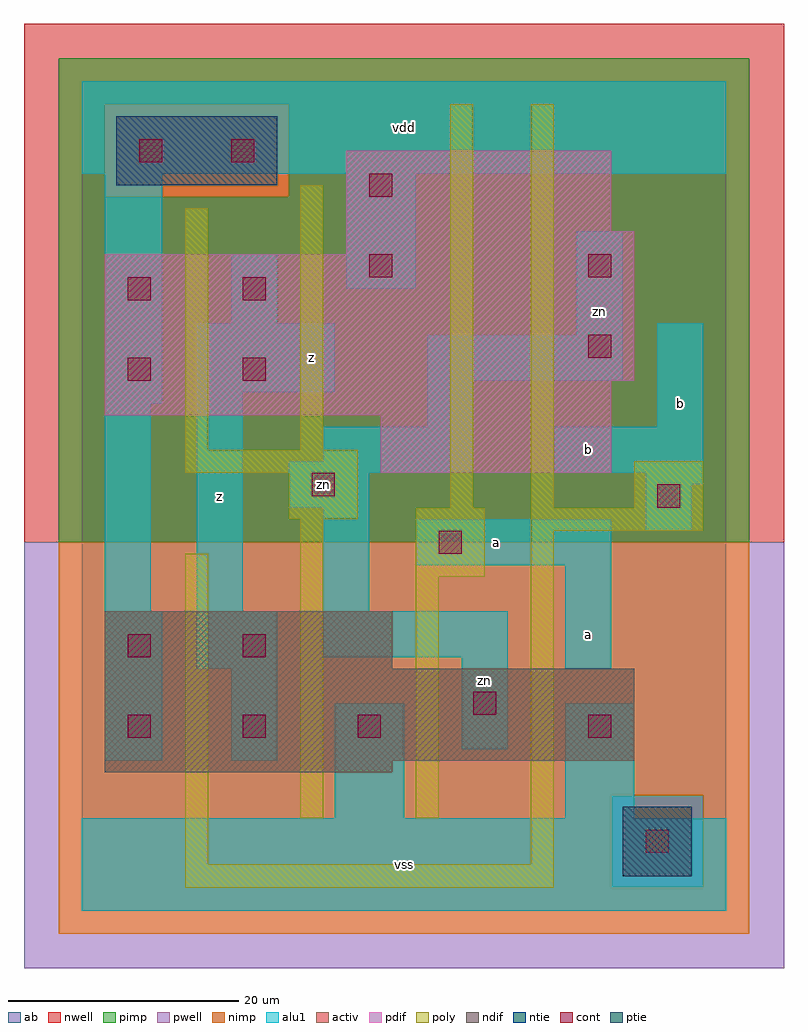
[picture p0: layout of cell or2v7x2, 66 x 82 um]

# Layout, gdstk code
import gdstk
lib = gdstk.Library(unit=1e-6, precision=1e-09)
def R(c, l, rs):  # rectangles x0, y0, x1, y1
    for r in rs: c.add(gdstk.rectangle(r[:2], r[2:], *l))
def A(c, l, x, y, w, h, nx, ny, dx, dy):  # array of equal rectangles
    R(c, l, [(x+i*dx, y+j*dy, x+i*dx+w, y+j*dy+h) for i in range(nx) for j in range(ny)])
ndif = (3, 0)
pdif = (4, 0)
ntie = (5, 0)
ptie = (6, 0)
cont = (25, 0)
pwell = (41, 0)
nwell = (42, 0)
activ = (43, 0)
pimp = (44, 0)
nimp = (45, 0)
poly = (46, 0)
alu1 = (49, 0)
ab = (63, 0)

or2v7x2 = lib.new_cell('or2v7x2')
R(or2v7x2, ndif, [(2,12,27,13), (2,13,48,21), (2,21,27,26)])
R(or2v7x2, pdif, [(26,38,46,43), (2,43,46,46), (2,46,48,57), (23,57,48,59), (23,59,46,66)])
R(or2v7x2, ntie, [(3,63,17,69)])
R(or2v7x2, ptie, [(47,3,53,9)])
A(or2v7x2, cont, 4, 15, 2, 2, 3, 1, 10, 0)
R(or2v7x2, cont, [(49,5,51,7), (44,15,46,17), (34,17,36,19), (4,22,6,24), (14,22,16,24), (31,31,33,33), (50,35,52,37), (20,36,22,38), (4,46,6,48), (14,46,16,48), (44,48,46,50), (4,53,6,55), (14,53,16,55), (25,55,27,57), (44,55,46,57), (25,62,27,64), (5,65,7,67), (13,65,15,67)])
R(or2v7x2, pwell, [(-5,-5,61,32)])
R(or2v7x2, nwell, [(-5,32,61,77)])
R(or2v7x2, activ, [(47,3,53,9), (2,12,27,13), (2,13,48,21), (2,21,27,26), (26,38,46,43), (2,43,46,46), (2,46,48,57), (23,57,48,59), (23,59,46,66), (3,63,17,69)])
R(or2v7x2, pimp, [(46,2,54,10), (-2,32,58,62), (-2,62,2,70), (18,62,58,70), (-2,70,58,74)])
R(or2v7x2, nimp, [(-2,-2,58,2), (-2,2,46,10), (54,2,58,10), (-2,10,58,32), (2,62,18,70)])
R(or2v7x2, poly, [(9,2,41,4), (9,4,11,31), (39,4,41,33), (19,8,21,34), (29,8,31,29), (29,29,35,35), (39,33,54,35), (18,34,24,38), (32,35,34,70), (39,35,41,70), (48,35,54,39), (9,38,24,40), (9,40,11,61), (19,40,21,63)])
R(or2v7x2, alu1, [(0,0,56,8), (22,8,28,18), (42,8,48,18), (2,13,7,26), (13,13,17,21), (33,14,37,22), (10,21,17,26), (42,21,46,30), (21,22,37,26), (2,26,6,44), (10,26,14,45), (21,26,25,35), (29,30,46,34), (49,33,53,37), (18,35,25,38), (49,37,54,38), (18,38,34,39), (41,38,54,42), (21,39,34,42), (30,42,34,46), (50,42,54,51), (2,44,7,64), (10,45,22,51), (30,46,47,50), (43,50,47,59), (13,51,17,57), (23,54,29,64), (0,64,56,72)])
R(or2v7x2, ab, [(0,0,56,72)])
or2v7x2.add(gdstk.Label('zn', (21,37), layer=49, texttype=0))
or2v7x2.add(gdstk.Label('zn', (35,20), layer=49, texttype=0))
or2v7x2.add(gdstk.Label('zn', (45,52), layer=49, texttype=0))
or2v7x2.add(gdstk.Label('z', (12,36), layer=49, texttype=0))
or2v7x2.add(gdstk.Label('z', (20,48), layer=49, texttype=0))
or2v7x2.add(gdstk.Label('vss', (28,4), layer=49, texttype=0))
or2v7x2.add(gdstk.Label('a', (36,32), layer=49, texttype=0))
or2v7x2.add(gdstk.Label('vdd', (28,68), layer=49, texttype=0))
or2v7x2.add(gdstk.Label('a', (44,24), layer=49, texttype=0))
or2v7x2.add(gdstk.Label('b', (44,40), layer=49, texttype=0))
or2v7x2.add(gdstk.Label('b', (52,44), layer=49, texttype=0))

lib.write_gds('or2v7x2.gds')
